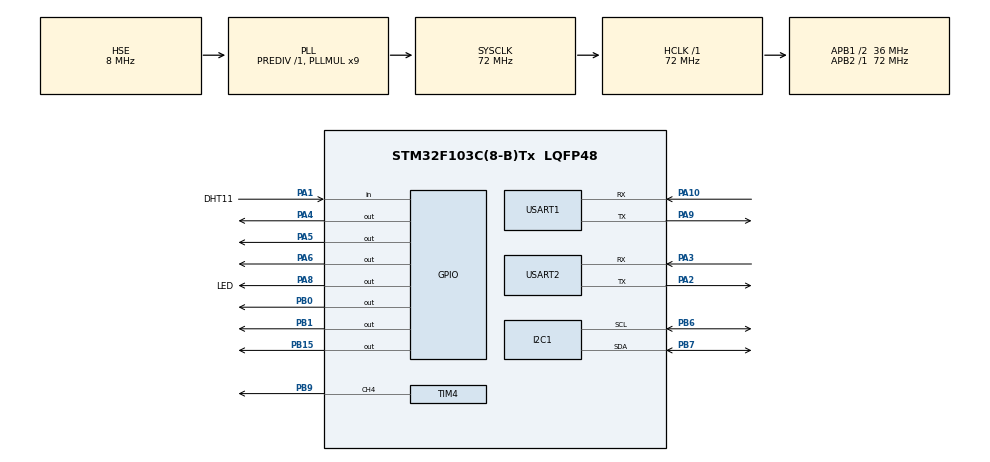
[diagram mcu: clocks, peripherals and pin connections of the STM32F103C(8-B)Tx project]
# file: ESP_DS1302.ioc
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Dma.Request0=USART2_RX
Dma.Request1=USART2_TX
Dma.USART2_RX.0.Direction=DMA_PERIPH_TO_MEMORY
Dma.USART2_RX.0.Instance=DMA1_Channel6
Dma.USART2_RX.0.MemDataAlignment=DMA_MDATAALIGN_BYTE
Dma.USART2_RX.0.MemInc=DMA_MINC_ENABLE
Dma.USART2_RX.0.Mode=DMA_NORMAL
Dma.USART2_RX.0.PeriphDataAlignment=DMA_PDATAALIGN_BYTE
Dma.USART2_RX.0.PeriphInc=DMA_PINC_DISABLE
Dma.USART2_RX.0.Priority=DMA_PRIORITY_LOW
Dma.USART2_TX.1.Direction=DMA_MEMORY_TO_PERIPH
Dma.USART2_TX.1.Instance=DMA1_Channel7
Dma.USART2_TX.1.MemDataAlignment=DMA_MDATAALIGN_BYTE
Dma.USART2_TX.1.MemInc=DMA_MINC_ENABLE
Dma.USART2_TX.1.Mode=DMA_NORMAL
Dma.USART2_TX.1.PeriphDataAlignment=DMA_PDATAALIGN_BYTE
Dma.USART2_TX.1.PeriphInc=DMA_PINC_DISABLE
Dma.USART2_TX.1.Priority=DMA_PRIORITY_LOW
I2C1.I2C_Mode=I2C_Fast
Mcu.Family=STM32F1
Mcu.Name=STM32F103C(8-B)Tx
Mcu.Package=LQFP48
NVIC.DMA1_Channel6_IRQn=true\:0\:0\:false\:false\:true\:false\:true\:true
NVIC.DMA1_Channel7_IRQn=true\:0\:0\:false\:false\:true\:false\:true\:true
NVIC.PriorityGroup=NVIC_PRIORITYGROUP_4
NVIC.USART1_IRQn=true\:0\:0\:false\:false\:true\:true\:true\:true
NVIC.USART2_IRQn=true\:0\:0\:false\:false\:true\:true\:true\:true
PA1.GPIO_Label=DHT11
PA1.Signal=GPIO_Input
PA10.Mode=Asynchronous
PA10.Signal=USART1_RX
PA13.Mode=Serial_Wire
PA13.Signal=SYS_JTMS-SWDIO
PA14.Mode=Serial_Wire
PA14.Signal=SYS_JTCK-SWCLK
PA2.Mode=Asynchronous
PA2.Signal=USART2_TX
PA3.Mode=Asynchronous
PA3.Signal=USART2_RX
PA4.GPIO_ModeDefaultOutputPP=GPIO_MODE_OUTPUT_PP
PA4.GPIO_PuPd=GPIO_PULLUP
PA4.Signal=GPIO_Output
PA5.Signal=GPIO_Output
PA6.Signal=GPIO_Output
PA8.GPIO_Label=LED
PA8.Signal=GPIO_Output
PA9.Mode=Asynchronous
PA9.Signal=USART1_TX
PB0.Signal=GPIO_Output
PB1.Signal=GPIO_Output
PB15.PinState=GPIO_PIN_SET
PB15.Signal=GPIO_Output
PB6.Mode=I2C
PB6.Signal=I2C1_SCL
PB7.Mode=I2C
PB7.Signal=I2C1_SDA
PB9.Signal=S_TIM4_CH4
PD0-OSC_IN.Mode=HSE-External-Oscillator
PD0-OSC_IN.Signal=RCC_OSC_IN
PD1-OSC_OUT.Mode=HSE-External-Oscillator
PD1-OSC_OUT.Signal=RCC_OSC_OUT
ProjectManager.HeapSize=0x200
ProjectManager.StackSize=0x400
ProjectManager.TargetToolchain=STM32CubeIDE
RCC.AHBFreq_Value=72000000
RCC.APB1CLKDivider=RCC_HCLK_DIV2
RCC.APB1Freq_Value=36000000
RCC.APB1TimFreq_Value=72000000
RCC.APB2Freq_Value=72000000
RCC.APB2TimFreq_Value=72000000
RCC.HCLKFreq_Value=72000000
RCC.PLLMUL=RCC_PLL_MUL9
RCC.PLLSourceVirtual=RCC_PLLSOURCE_HSE
RCC.SYSCLKFreq_VALUE=72000000
RCC.SYSCLKSource=RCC_SYSCLKSOURCE_PLLCLK
RCC.USBFreq_Value=72000000
SH.S_TIM4_CH4.0=TIM4_CH4,PWM Generation4 CH4
TIM4.AutoReloadPreload=TIM_AUTORELOAD_PRELOAD_ENABLE
TIM4.Channel-PWM\ Generation4\ CH4=TIM_CHANNEL_4
TIM4.Period=19999
TIM4.Prescaler=72
TIM4.Pulse-PWM\ Generation4\ CH4=1500
USART1.VirtualMode=VM_ASYNC
USART2.VirtualMode=VM_ASYNC
VP_TIM4_VS_ClockSourceINT.Mode=Internal
board=custom

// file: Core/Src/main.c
/* USER CODE BEGIN Header */
/**
  ******************************************************************************
  * @file           : main.c
  * @brief          : Main program body
  ******************************************************************************
  * @attention
  *
  * Copyright (c) 2025 STMicroelectronics.
  * All rights reserved.
  *
  * This software is licensed under terms that can be found in the LICENSE file
  * in the root directory of this software component.
  * If no LICENSE file comes with this software, it is provided AS-IS.
  *
  ******************************************************************************
  */
/* USER CODE END Header */
#include "main.h"
#include "dma.h"
#include "i2c.h"
#include "tim.h"
#include "usart.h"
#include "gpio.h"

/* USER CODE BEGIN Includes */
#include <stdio.h>
#include <string.h>
#include "oled.h"
#include "font.h"
#include "esp.h"
#include "dht11.h"
#include "ds1302.h"

#include "cJSON.h"

/* USER CODE END Includes */

/* USER CODE BEGIN PD */
#define PUMP_IA_PIN GPIO_PIN_0
#define PUMP_IA_PORT GPIOB
#define PUMP_IB_PIN GPIO_PIN_1
#define PUMP_IB_PORT GPIOB

#define BUZZER_PIN GPIO_PIN_15
#define BUZZER_PORT GPIOB
#define BEEP_DURATION 20  // 蜂鸣持续时间(ms)

#define WIFI_SSID "31442"
#define WIFI_PASS "dianqi442"

//#define WIFI_SSID "Niko"
//#define WIFI_PASS "12345678lk"

/* USER CODE END PD */

/* USER CODE BEGIN PV */

uint8_t uart2_rx_data[256] = {0};  // 专门用于UART2接收

char R_data[1024];			//定义结束数据的缓冲区
uint8_t R_length=0;			//定义结束数据的长度
uint8_t R_i=0;					//由于遍历缓冲区数据
char request_id[128];		//命令下发的request_id
uint8_t aRxBuffer1;			//一个字节的缓冲

// 添加状态变量
typedef enum {
    CMD_IDLE,
    CMD_SG90_1,      // 快速转动
    CMD_SG90_2,      // 保持2秒
    CMD_PUMP_1,      // 水泵2秒
    CMD_PUMP_2       // 水泵8秒
} CommandState;

volatile CommandState currentCmd = CMD_IDLE;
uint32_t cmdStartTime = 0;
uint32_t cmdDuration = 0;

DS1302_Time currentTime;
uint32_t lastTimeUpdate = 0;
typedef enum {
    PUMP_IDLE,
    PUMP_RUNNING,
    PUMP_WAITING_24H
} PumpState;

PumpState pumpState = PUMP_IDLE;
uint32_t pumpTimer = 0;
uint8_t lastPumpDay = 0;// 记录上次启动水泵的日期

/* USER CODE END PV */

void SystemClock_Config(void);
/* USER CODE BEGIN PFP */
void Pump_Start(void);
void Pump_Stop(void);
void Pump_Reverse(void);
void Servo_SetAngle(uint8_t angle);

void ParseMQTTData(char* data, int length);

void HAL_UARTEx_RxEventCallback(UART_HandleTypeDef *huart, uint16_t Size);
void HAL_UART_RxCpltCallback(UART_HandleTypeDef *huart);

void Beep(uint32_t duration);

/* USER CODE END PFP */

/* USER CODE BEGIN 0 */

void Beep(uint32_t duration) {
    HAL_GPIO_WritePin(BUZZER_PORT, BUZZER_PIN, GPIO_PIN_RESET); // 低电平触发
    HAL_Delay(duration);
    HAL_GPIO_WritePin(BUZZER_PORT, BUZZER_PIN, GPIO_PIN_SET);   // 恢复高电平
}

/* USER CODE END 0 */

int main(void)
{

  /* MCU Configuration--------------------------------------------------------*/

  /* Reset of all peripherals, Initializes the Flash interface and the Systick. */
  HAL_Init();

  /* Configure the system clock */
  SystemClock_Config();

  /* Initialize all configured peripherals */
  MX_GPIO_Init();
  MX_DMA_Init();
  MX_I2C1_Init();
  MX_USART1_UART_Init();
  MX_USART2_UART_Init();
  MX_TIM4_Init();
  /* USER CODE BEGIN 2 */

  CoreDebug->DEMCR |= CoreDebug_DEMCR_TRCENA_Msk;
  DWT->CYCCNT = 0;
  DWT->CTRL |= DWT_CTRL_CYCCNTENA_Msk;

  OLED_Init();

  OLED_NewFrame();
  OLED_PrintString(0,5,"LK", &font16x16, OLED_COLOR_NORMAL);
  OLED_ShowFrame();

  // 使用Ex函数，接收不定长数据
  HAL_UARTEx_ReceiveToIdle_DMA(&huart2, uart2_rx_data, sizeof(uart2_rx_data));
  // 关闭DMA传输过半中断（HAL库默认开启，但只需要接收完成中断）
  __HAL_DMA_DISABLE_IT(huart2.hdmarx, DMA_IT_HT);
  // 现在等待数据接收完成，接收完成后会自动进入回调函数...

  HAL_UART_Receive_IT(&huart1,&aRxBuffer1,1); //使能串口接收中断

  ESP8266_Init(&huart1);
//  ESP8266_ConnectToWiFi(WIFI_SSID, WIFI_PASS);
  ESP8266_ConnectToHuaweiCloud();

  // 启动TIM4 PWM通道4（PB9）
  HAL_TIM_PWM_Start(&htim4, TIM_CHANNEL_4);
  Servo_SetAngle(0);  // 初始位置设为90°

  DS1302_Init();
//  DS1302_ForceInitTime(); // 只执行一次

  HAL_GPIO_WritePin(LED_GPIO_Port, LED_Pin, GPIO_PIN_SET);

  uint32_t lastSensorUpdate = 0;

  /* USER CODE END 2 */

  /* Infinite loop */
  /* USER CODE BEGIN WHILE */
  while (1)
  {

	    // 按固定周期上报传感器数据
	    if (HAL_GetTick() - lastSensorUpdate >= 2000)
	    {
	        DHT11_Data dht_data;
	        if (DHT11_Read(&dht_data) && dht_data.valid) {
	            // OLED显示代码
	        	OLED_ClearArea(0, 0, 128, 32);
		        char temp_str[20];
		        sprintf(temp_str, "Temp: %d.%dC", dht_data.temp_int, dht_data.temp_decimal);
		        OLED_PrintString(0, 0, temp_str, &font16x16, OLED_COLOR_NORMAL);

		        char hum_str[20];
		        sprintf(hum_str, "Hum: %d.%d%%", dht_data.humidity_int, dht_data.humidity_decimal);
		        OLED_PrintString(0, 16, hum_str, &font16x16, OLED_COLOR_NORMAL);
		        OLED_ShowFrame();
	            // 发送传感器数据
	            ESP8266_SendSensorData(dht_data.temp_int, dht_data.temp_decimal,
	                                 dht_data.humidity_int, dht_data.humidity_decimal);
//	    	    HAL_Delay(500);  // 适当延时减少CPU占用
	            lastSensorUpdate = HAL_GetTick();
	        }
	    }

	    // 处理当前命令状态
	    switch(currentCmd)
	    {
	        case CMD_SG90_1:
	            if(HAL_GetTick() - cmdStartTime >= 1000)
	            {
	                Servo_SetAngle(0);
	                currentCmd = CMD_IDLE;

	            }
	            Beep(BEEP_DURATION);
	            break;

	        case CMD_SG90_2:
	            if(HAL_GetTick() - cmdStartTime >= 2000)
	            {
	                Servo_SetAngle(0);
	                currentCmd = CMD_IDLE;

	            }
	            Beep(BEEP_DURATION);
	            break;

	        case CMD_PUMP_1:
	            if(HAL_GetTick() - cmdStartTime >= 2000)
	            {
	                Pump_Stop();
	                currentCmd = CMD_IDLE;

	            }
	            Beep(BEEP_DURATION);
	            break;

	        case CMD_PUMP_2:
	            if(HAL_GetTick() - cmdStartTime >= 8000)
	            {
	                Pump_Stop();
	                currentCmd = CMD_IDLE;

	            }
	            Beep(BEEP_DURATION);
	            break;

	        case CMD_IDLE:
	        default:
	            // 无命令执行时不做任何操作
	            break;
	    }

	    // 每秒更新时间显示
	    if (HAL_GetTick() - lastTimeUpdate >= 1000) {
	        DS1302_GetTime(&currentTime);

	        // OLED显示时间
        	OLED_ClearArea(0, 32, 128, 32);
	        char time_str[20];
	        sprintf(time_str, "%02d:%02d:%02d",
	                currentTime.hours,
	                currentTime.minutes,
	                currentTime.seconds);
	        OLED_PrintString(0, 32, time_str, &font16x16, OLED_COLOR_NORMAL);

	        char date_str[20];
	        sprintf(date_str, "20%02d-%02d-%02d",
	                currentTime.year,
	                currentTime.month,
	                currentTime.day);
	        OLED_PrintString(0, 48, date_str, &font16x16, OLED_COLOR_NORMAL);
	        OLED_ShowFrame();

	        lastTimeUpdate = HAL_GetTick();
	    }

	    // 每天定时启动水泵3秒
	    switch(pumpState) {
	        case PUMP_IDLE:
	            // 检查当前时间，并且不是同一天已经执行过
	            if (currentTime.hours == 18 &&
	                currentTime.minutes == 50 &&
	                currentTime.seconds < 3 &&
	                lastPumpDay != currentTime.day)
	            {
	                Pump_Start();
	                pumpState = PUMP_RUNNING;
	                pumpTimer = HAL_GetTick();
	                lastPumpDay = currentTime.day; // 记录执行日期
	                Beep(BEEP_DURATION);
	            }
	            break;

	        case PUMP_RUNNING:
	            if (HAL_GetTick() - pumpTimer >= 3000) { // 运行3秒
	                Pump_Stop();
	                pumpState = PUMP_WAITING_24H;
	            }
	            break;

	        case PUMP_WAITING_24H:
	            // 等待时间过去，防止重复执行
	            if (!(currentTime.hours == 18 && currentTime.minutes == 50)) {
	                pumpState = PUMP_IDLE;
	            }
	            break;
	    }

    /* USER CODE END WHILE */

  }
}

void SystemClock_Config(void)
{
  RCC_OscInitTypeDef RCC_OscInitStruct = {0};
  RCC_ClkInitTypeDef RCC_ClkInitStruct = {0};

  /** Initializes the RCC Oscillators according to the specified parameters
  * in the RCC_OscInitTypeDef structure.
  */
  RCC_OscInitStruct.OscillatorType = RCC_OSCILLATORTYPE_HSE;
  RCC_OscInitStruct.HSEState = RCC_HSE_ON;
  RCC_OscInitStruct.HSEPredivValue = RCC_HSE_PREDIV_DIV1;
  RCC_OscInitStruct.HSIState = RCC_HSI_ON;
  RCC_OscInitStruct.PLL.PLLState = RCC_PLL_ON;
  RCC_OscInitStruct.PLL.PLLSource = RCC_PLLSOURCE_HSE;
  RCC_OscInitStruct.PLL.PLLMUL = RCC_PLL_MUL9;
  if (HAL_RCC_OscConfig(&RCC_OscInitStruct) != HAL_OK)
  {
    Error_Handler();
  }

  /** Initializes the CPU, AHB and APB buses clocks
  */
  RCC_ClkInitStruct.ClockType = RCC_CLOCKTYPE_HCLK|RCC_CLOCKTYPE_SYSCLK
                              |RCC_CLOCKTYPE_PCLK1|RCC_CLOCKTYPE_PCLK2;
  RCC_ClkInitStruct.SYSCLKSource = RCC_SYSCLKSOURCE_PLLCLK;
  RCC_ClkInitStruct.AHBCLKDivider = RCC_SYSCLK_DIV1;
  RCC_ClkInitStruct.APB1CLKDivider = RCC_HCLK_DIV2;
  RCC_ClkInitStruct.APB2CLKDivider = RCC_HCLK_DIV1;

  if (HAL_RCC_ClockConfig(&RCC_ClkInitStruct, FLASH_LATENCY_2) != HAL_OK)
  {
    Error_Handler();
  }
}

/* USER CODE BEGIN 4 */

void Pump_Start(void) {
    HAL_GPIO_WritePin(PUMP_IA_PORT, PUMP_IA_PIN, GPIO_PIN_SET);
    HAL_GPIO_WritePin(PUMP_IB_PORT, PUMP_IB_PIN, GPIO_PIN_RESET);
}

void Pump_Stop(void) {
    HAL_GPIO_WritePin(PUMP_IA_PORT, PUMP_IA_PIN, GPIO_PIN_RESET);
    HAL_GPIO_WritePin(PUMP_IB_PORT, PUMP_IB_PIN, GPIO_PIN_RESET);
}

void Pump_Reverse(void) {
    HAL_GPIO_WritePin(PUMP_IA_PORT, PUMP_IA_PIN, GPIO_PIN_RESET);
    HAL_GPIO_WritePin(PUMP_IB_PORT, PUMP_IB_PIN, GPIO_PIN_SET);
}

/* 舵机控制函数（角度范围0-180°） */
void Servo_SetAngle(uint8_t angle) {
    // 限制角度范围
    angle = (angle > 180) ? 180 : angle;

    // 转换为PWM脉宽值（500-2500对应0-180°）
    uint16_t pulse = 500 + angle * (2000 / 180);
    __HAL_TIM_SET_COMPARE(&htim4, TIM_CHANNEL_4, pulse);
}

void ParseMQTTData(char* data, int length)
{

		HAL_UART_Transmit(&huart2, (uint8_t*)"\r\nRX Data Len: ", 15, 100);
	    char len_str[10];
	    sprintf(len_str, "%d", length);
	    HAL_UART_Transmit(&huart2, (uint8_t*)len_str, strlen(len_str), 100);
	    HAL_UART_Transmit(&huart2, (uint8_t*)"\r\nRX Data: ", 11, 100);
	    HAL_UART_Transmit(&huart2, (uint8_t*)data, length, 100);

		if(length>120)//接收数据
		{

	    // 1. 提取 request_id
	    char* rid_start = strstr(data, "request_id=");
	    if (!rid_start) {
	        HAL_UART_Transmit(&huart2, (uint8_t*)"\r\nNo request_id found\r\n", 24, 100);
	        return;
	    }

	    char request_id[64] = {0};
	    sscanf(rid_start, "request_id=%36[^\"]", request_id);

	    HAL_UART_Transmit(&huart2, (uint8_t*)"\r\nMQTT request_id: ", 19, 100);
	    HAL_UART_Transmit(&huart2, (uint8_t*)request_id, strlen(request_id), 100);

	    // 2. 提取 JSON 字符串
	    char* json_start = strchr(data, '{');
	    if (!json_start) {
	        HAL_UART_Transmit(&huart2, (uint8_t*)"\r\nNo JSON found\r\n", 17, 100);
	        return;
	    }

	    cJSON* root = cJSON_Parse(json_start);
	    if (!root) {
	        HAL_UART_Transmit(&huart2, (uint8_t*)"\r\nJSON Parse Error\r\n", 19, 100);
	        return;
	    }

	    cJSON* paras = cJSON_GetObjectItem(root, "paras");
	    if (paras) {
	        cJSON* led_cmd = cJSON_GetObjectItem(paras, "LED_CMD");
	        if (cJSON_IsNumber(led_cmd))
	        {
	            if (led_cmd->valueint == 0)
	            {
	                HAL_GPIO_WritePin(LED_GPIO_Port, LED_Pin, GPIO_PIN_RESET);
	            } else if (led_cmd->valueint == 1)
	            {
	                HAL_GPIO_WritePin(LED_GPIO_Port, LED_Pin, GPIO_PIN_SET);
	            }
	            HAL_UART_Transmit(&huart2, (uint8_t*)"\r\nLED CMD executed\r\n", 20, 100);
	            ESP8266_response(request_id);
	            HAL_UART_Transmit(&huart2, (uint8_t*)"\r\nResponse Done\r\n", 17, 100);
	        }

	        cJSON* sg90_cmd = cJSON_GetObjectItem(paras, "SG90_CMD");
	        if (cJSON_IsNumber(sg90_cmd))
	        {
	            if (sg90_cmd->valueint == 1)
	            {
	                // 正转90°然后立即复位
	                currentCmd = CMD_SG90_1;
	                cmdStartTime = HAL_GetTick();
	                Servo_SetAngle(90);

	            } else if (sg90_cmd->valueint == 2)
	            {
	                // 正转90°保持2秒后复位
	                currentCmd = CMD_SG90_2;
	                cmdStartTime = HAL_GetTick();
	                Servo_SetAngle(90);

	            }
	            HAL_UART_Transmit(&huart2, (uint8_t*)"\r\nSG90 CMD executed\r\n", 20, 100);
	            ESP8266_response(request_id);
	            HAL_UART_Transmit(&huart2, (uint8_t*)"\r\nResponse Done\r\n", 17, 100);
	        }

	        cJSON* jt_cmd = cJSON_GetObjectItem(paras, "JT_CMD");
	        if (cJSON_IsNumber(jt_cmd))
	        {
	            if (jt_cmd->valueint == 1)
	            {
	                // 水泵启动2秒后停止
	                currentCmd = CMD_PUMP_1;
	                cmdStartTime = HAL_GetTick();
	                Pump_Start();

	            } else if (jt_cmd->valueint == 2)
	            {
	                // 水泵启动8秒后停止
	                currentCmd = CMD_PUMP_2;
	                cmdStartTime = HAL_GetTick();
	                Pump_Start();

	            }
	            HAL_UART_Transmit(&huart2, (uint8_t*)"\r\nJT CMD executed\r\n", 20, 100);
	            ESP8266_response(request_id);
	            HAL_UART_Transmit(&huart2, (uint8_t*)"\r\nResponse Done\r\n", 17, 100);
	        }
	    }

	    cJSON_Delete(root); // 清理 JSON 内存
		}
}

// 不定长数据接收完成回调函数
void HAL_UARTEx_RxEventCallback(UART_HandleTypeDef *huart, uint16_t Size)
{
  if (huart->Instance == USART2)
  {
    // 使用DMA将接收到的数据发送回去
    HAL_UART_Transmit_DMA(&huart2, uart2_rx_data, Size);
    // 重新启动接收，使用Ex函数，接收不定长数据
    HAL_UARTEx_ReceiveToIdle_DMA(&huart2, uart2_rx_data, sizeof(uart2_rx_data));
    // 关闭DMA传输过半中断
    __HAL_DMA_DISABLE_IT(huart2.hdmarx, DMA_IT_HT);
  }
}

void HAL_UART_RxCpltCallback(UART_HandleTypeDef *huart)
{
    if(huart->Instance == USART1)
    {
        HAL_UART_Receive_IT(&huart1, &aRxBuffer1, 1);
        // save char from uart receive
        if(aRxBuffer1 != '\n')
            R_data[R_length++] = aRxBuffer1;
        else
        {
            ParseMQTTData(R_data, R_length);
            R_length = 0;
            memset(R_data, 0, sizeof(R_data));
        }
    }

}

/* USER CODE END 4 */

void Error_Handler(void)
{
  __disable_irq();
  while (1)
  {
  }
}
